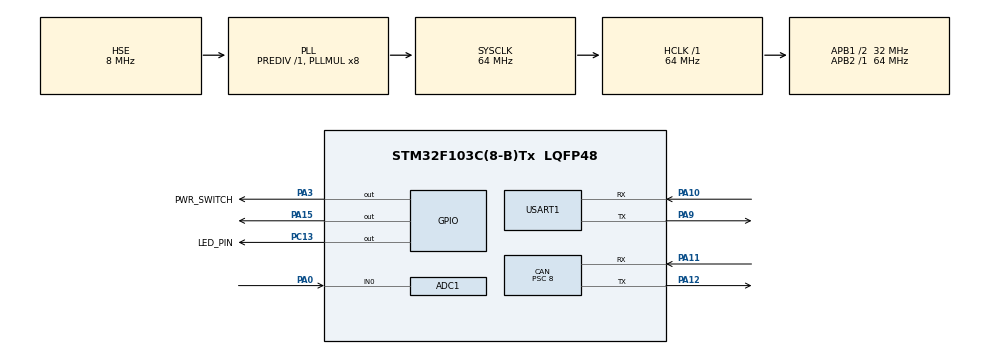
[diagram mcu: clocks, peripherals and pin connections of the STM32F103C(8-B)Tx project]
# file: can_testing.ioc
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ADC1.Channel-0\#ChannelRegularConversion=ADC_CHANNEL_0
ADC1.NbrOfConversionFlag=1
ADC1.Rank-0\#ChannelRegularConversion=1
ADC1.SamplingTime-0\#ChannelRegularConversion=ADC_SAMPLETIME_7CYCLES_5
ADC1.master=1
CAN.BS1=CAN_BS1_13TQ
CAN.BS2=CAN_BS2_2TQ
CAN.CalculateBaudRate=250000
CAN.CalculateTimeBit=4000.00
CAN.CalculateTimeQuantum=250.0
CAN.Mode=CAN_MODE_NORMAL
CAN.NART=DISABLE
CAN.Prescaler=8
Mcu.Family=STM32F1
Mcu.Name=STM32F103C(8-B)Tx
Mcu.Package=LQFP48
NVIC.CAN1_RX1_IRQn=true\:3\:0\:true\:false\:true\:true\:true
NVIC.PriorityGroup=NVIC_PRIORITYGROUP_4
NVIC.TIM1_UP_IRQn=true\:0\:0\:false\:false\:true\:true\:true
NVIC.TIM2_IRQn=true\:0\:0\:false\:false\:true\:true\:true
NVIC.USART1_IRQn=true\:6\:0\:true\:false\:true\:true\:true
NVIC.USB_HP_CAN1_TX_IRQn=true\:3\:0\:true\:false\:true\:true\:true
NVIC.USB_LP_CAN1_RX0_IRQn=true\:3\:0\:true\:false\:true\:true\:true
PA0-WKUP.Signal=ADCx_IN0
PA10.Mode=Asynchronous
PA10.Signal=USART1_RX
PA11.Mode=CAN_Activate
PA11.Signal=CAN_RX
PA12.Mode=CAN_Activate
PA12.Signal=CAN_TX
PA13.Mode=Serial_Wire
PA13.Signal=SYS_JTMS-SWDIO
PA14.Mode=Serial_Wire
PA14.Signal=SYS_JTCK-SWCLK
PA15.GPIO_PuPd=GPIO_PULLDOWN
PA15.Signal=GPIO_Output
PA3.GPIO_Label=PWR_SWITCH
PA3.Signal=GPIO_Output
PA9.Mode=Asynchronous
PA9.Signal=USART1_TX
PC13-TAMPER-RTC.GPIO_Label=LED_PIN
PC13-TAMPER-RTC.Signal=GPIO_Output
PD0-OSC_IN.Mode=HSE-External-Oscillator
PD0-OSC_IN.Signal=RCC_OSC_IN
PD1-OSC_OUT.Mode=HSE-External-Oscillator
PD1-OSC_OUT.Signal=RCC_OSC_OUT
ProjectManager.HeapSize=0x200
ProjectManager.StackSize=0x400
ProjectManager.TargetToolchain=STM32CubeIDE
RCC.ADCPresc=RCC_ADCPCLK2_DIV8
RCC.AHBFreq_Value=64000000
RCC.APB1CLKDivider=RCC_HCLK_DIV2
RCC.APB1Freq_Value=32000000
RCC.APB1TimFreq_Value=64000000
RCC.APB2Freq_Value=64000000
RCC.APB2TimFreq_Value=64000000
RCC.HCLKFreq_Value=64000000
RCC.PLLMUL=RCC_PLL_MUL8
RCC.PLLSourceVirtual=RCC_PLLSOURCE_HSE
RCC.SYSCLKFreq_VALUE=64000000
RCC.SYSCLKSource=RCC_SYSCLKSOURCE_PLLCLK
RCC.USBFreq_Value=64000000
SH.ADCx_IN0.0=ADC1_IN0,IN0
TIM1.Period=20000-1
TIM1.Prescaler=4
TIM2.Prescaler=999
USART1.VirtualMode=VM_ASYNC
VP_TIM1_VS_ClockSourceINT.Mode=Internal
VP_TIM2_VS_ClockSourceINT.Mode=Internal
board=custom

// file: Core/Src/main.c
/* USER CODE BEGIN Header */
/**
  ******************************************************************************
  * @file           : main.c
  * @brief          : Main program body
  ******************************************************************************
  * @attention
  *
  * <h2><center>&copy; Copyright (c) 2021 STMicroelectronics.
  * All rights reserved.</center></h2>
  *
  * This software component is licensed by ST under BSD 3-Clause license,
  * the "License"; You may not use this file except in compliance with the
  * License. You may obtain a copy of the License at:
  *                        opensource.org/licenses/BSD-3-Clause
  *
  ******************************************************************************
  */
/* USER CODE END Header */
#include "main.h"
#include "adc.h"
#include "can.h"
#include "tim.h"
#include "usart.h"
#include "gpio.h"

/* USER CODE BEGIN Includes */
#include "battery_pack.h"
#include "fifo_buffer.h"
/* USER CODE END Includes */

/* USER CODE BEGIN PD */
#define REF_VOLTAGE 3300.0
/* USER CODE END PD */

/* USER CODE BEGIN PV */
bq_pack battery_pack;

/* USER CODE END PV */

void SystemClock_Config(void);

/* USER CODE BEGIN 0 */

/* Start request timer */

/* USER CODE END 0 */

int main(void)
{
  /* USER CODE BEGIN 1 */
	uint16_t raw;
	uint16_t calculated;
  /* USER CODE END 1 */

  /* MCU Configuration--------------------------------------------------------*/

  /* Reset of all peripherals, Initializes the Flash interface and the Systick. */
  HAL_Init();

  /* Configure the system clock */
  SystemClock_Config();

  /* Initialize all configured peripherals */
  MX_GPIO_Init();
  MX_CAN_Init();
  MX_USART1_UART_Init();
  MX_TIM2_Init();
  MX_TIM1_Init();
  MX_ADC1_Init();
  /* USER CODE BEGIN 2 */
  CanConfigFilter(hcan, 0, 0x0000, 0x0000, 0x0000, 0x0000);
  CanInit(hcan);

  BqPack_StructInit(&battery_pack);
  /* Start the timer */
  HAL_TIM_Base_Start_IT(&htim1);
  HAL_TIM_Base_Start_IT(&htim2);

  Queue_Init();

  /* Start receiving data from MSP430 */
  uint8_t data[8] = {1, 1, 1, 1, 1, 1, 1, 1};
  	frame_to_send tx_frame;
  	tx_frame.tx_data[0] = data[0];
  	tx_frame.tx_data[1] = data[1];
  	tx_frame.tx_data[2] = data[2];
  	tx_frame.tx_data[3] = data[3];
  	tx_frame.tx_data[4] = data[4];
  	tx_frame.tx_data[5] = data[5];
  	tx_frame.tx_data[6] = data[6];
  	tx_frame.tx_data[7] = data[7];
  	tx_frame.tx_header = 0x127;
  /* USER CODE END 2 */

  /* Infinite loop */
  /* USER CODE BEGIN WHILE */
  while (1)
  {
	/* ADC conversion */
	HAL_ADC_Start(&hadc1);
	HAL_ADC_PollForConversion(&hadc1, 10);
	raw = HAL_ADC_GetValue(&hadc1);
	calculated = (uint16_t)((3300.0 / 4095.0) * raw);

	HAL_Delay(500);
    /* USER CODE END WHILE */

  }
}

void SystemClock_Config(void)
{
  RCC_OscInitTypeDef RCC_OscInitStruct = {0};
  RCC_ClkInitTypeDef RCC_ClkInitStruct = {0};
  RCC_PeriphCLKInitTypeDef PeriphClkInit = {0};

  /** Initializes the RCC Oscillators according to the specified parameters
  * in the RCC_OscInitTypeDef structure.
  */
  RCC_OscInitStruct.OscillatorType = RCC_OSCILLATORTYPE_HSE;
  RCC_OscInitStruct.HSEState = RCC_HSE_ON;
  RCC_OscInitStruct.HSEPredivValue = RCC_HSE_PREDIV_DIV1;
  RCC_OscInitStruct.HSIState = RCC_HSI_ON;
  RCC_OscInitStruct.PLL.PLLState = RCC_PLL_ON;
  RCC_OscInitStruct.PLL.PLLSource = RCC_PLLSOURCE_HSE;
  RCC_OscInitStruct.PLL.PLLMUL = RCC_PLL_MUL8;
  if (HAL_RCC_OscConfig(&RCC_OscInitStruct) != HAL_OK)
  {
    Error_Handler();
  }
  /** Initializes the CPU, AHB and APB buses clocks
  */
  RCC_ClkInitStruct.ClockType = RCC_CLOCKTYPE_HCLK|RCC_CLOCKTYPE_SYSCLK
                              |RCC_CLOCKTYPE_PCLK1|RCC_CLOCKTYPE_PCLK2;
  RCC_ClkInitStruct.SYSCLKSource = RCC_SYSCLKSOURCE_PLLCLK;
  RCC_ClkInitStruct.AHBCLKDivider = RCC_SYSCLK_DIV1;
  RCC_ClkInitStruct.APB1CLKDivider = RCC_HCLK_DIV2;
  RCC_ClkInitStruct.APB2CLKDivider = RCC_HCLK_DIV1;

  if (HAL_RCC_ClockConfig(&RCC_ClkInitStruct, FLASH_LATENCY_2) != HAL_OK)
  {
    Error_Handler();
  }
  PeriphClkInit.PeriphClockSelection = RCC_PERIPHCLK_ADC;
  PeriphClkInit.AdcClockSelection = RCC_ADCPCLK2_DIV8;
  if (HAL_RCCEx_PeriphCLKConfig(&PeriphClkInit) != HAL_OK)
  {
    Error_Handler();
  }
}

void Error_Handler(void)
{
  __disable_irq();
  while (1)
  {
  }
}

/************************ (C) COPYRIGHT STMicroelectronics *****END OF FILE****/
